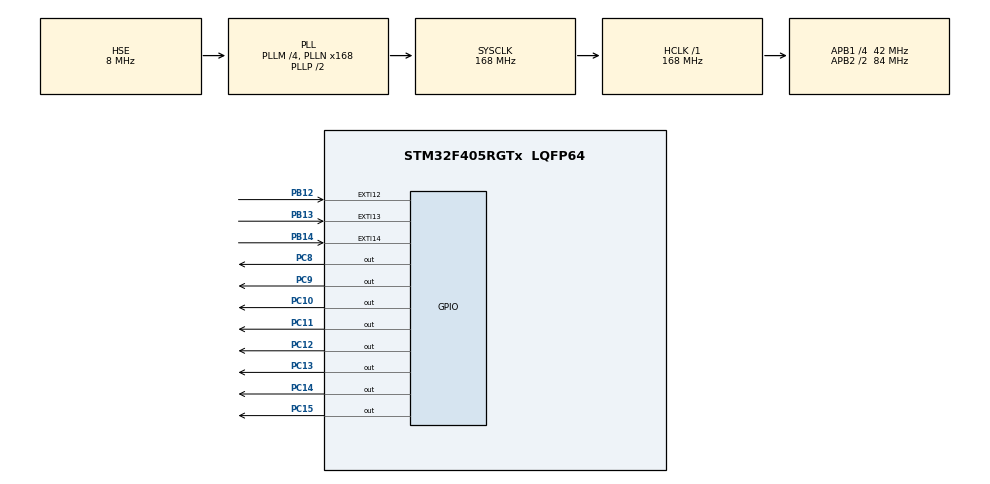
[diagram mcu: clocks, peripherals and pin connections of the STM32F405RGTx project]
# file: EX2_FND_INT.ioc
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Mcu.Family=STM32F4
Mcu.Name=STM32F405RGTx
Mcu.Package=LQFP64
NVIC.EXTI15_10_IRQn=true\:0\:0\:false\:false\:true\:true\:true
NVIC.PriorityGroup=NVIC_PRIORITYGROUP_4
PA13.Mode=Serial_Wire
PA13.Signal=SYS_JTMS-SWDIO
PA14.Mode=Serial_Wire
PA14.Signal=SYS_JTCK-SWCLK
PB12.Signal=GPXTI12
PB13.Signal=GPXTI13
PB14.Signal=GPXTI14
PC10.Signal=GPIO_Output
PC11.Signal=GPIO_Output
PC12.Signal=GPIO_Output
PC13-ANTI_TAMP.Signal=GPIO_Output
PC14-OSC32_IN.Signal=GPIO_Output
PC15-OSC32_OUT.Signal=GPIO_Output
PC8.Signal=GPIO_Output
PC9.Signal=GPIO_Output
PH0-OSC_IN.Mode=HSE-External-Oscillator
PH0-OSC_IN.Signal=RCC_OSC_IN
PH1-OSC_OUT.Mode=HSE-External-Oscillator
PH1-OSC_OUT.Signal=RCC_OSC_OUT
ProjectManager.HeapSize=0x200
ProjectManager.StackSize=0x400
ProjectManager.TargetToolchain=EWARM V8.32
RCC.48MHZClocksFreq_Value=84000000
RCC.AHBFreq_Value=168000000
RCC.APB1CLKDivider=RCC_HCLK_DIV4
RCC.APB1Freq_Value=42000000
RCC.APB1TimFreq_Value=84000000
RCC.APB2CLKDivider=RCC_HCLK_DIV2
RCC.APB2Freq_Value=84000000
RCC.APB2TimFreq_Value=168000000
RCC.CortexFreq_Value=168000000
RCC.HCLKFreq_Value=168000000
RCC.HSE_VALUE=8000000
RCC.HSI_VALUE=16000000
RCC.LSE_VALUE=32768
RCC.PLLM=4
RCC.PLLN=168
RCC.PLLSourceVirtual=RCC_PLLSOURCE_HSE
RCC.SYSCLKFreq_VALUE=168000000
RCC.SYSCLKSource=RCC_SYSCLKSOURCE_PLLCLK
RCC.VCOOutputFreq_Value=336000000
board=custom

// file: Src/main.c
/* USER CODE BEGIN Header */
/**
  ******************************************************************************
  * @file           : main.c
  * @brief          : Main program body
  ******************************************************************************
  * @attention
  *
  * <h2><center>&copy; Copyright (c) 2020 STMicroelectronics.
  * All rights reserved.</center></h2>
  *
  * This software component is licensed by ST under BSD 3-Clause license,
  * the "License"; You may not use this file except in compliance with the
  * License. You may obtain a copy of the License at:
  *                        opensource.org/licenses/BSD-3-Clause
  *
  ******************************************************************************
  */
/* USER CODE END Header */

#include "main.h"
#include "gpio.h"

void SystemClock_Config(void);

/* USER CODE BEGIN 0 */
unsigned char Time_STOP = 0;
/* USER CODE END 0 */

int main(void)
{

  /* MCU Configuration--------------------------------------------------------*/

  /* Reset of all peripherals, Initializes the Flash interface and the Systick. */
  HAL_Init();

  /* Configure the system clock */
  SystemClock_Config();

  /* Initialize all configured peripherals */
  MX_GPIO_Init();

  /* Infinite loop */
  /* USER CODE BEGIN WHILE */
  unsigned int FND_DATA_TBL [] = {0x3f00, 0x0600, 0x5b00, 0x4f00, 0x6600, 0x6d00,
                                  0x7c00, 0x0700, 0x7f00, 0x6700, 0x7700, 0x7c00,
                                  0x3900, 0x5e00, 0x7900, 0x7100, 0x0800, 0x8000};
  unsigned char cnt = 0;
  while (1)
  {
    HAL_GPIO_WritePin(GPIOC, 0xff00, GPIO_PIN_RESET);
    HAL_GPIO_WritePin(GPIOC, FND_DATA_TBL[cnt], GPIO_PIN_SET);
    if(Time_STOP == 0){
      cnt++;
      if(cnt>17) cnt = 0;
    }
    HAL_Delay(200);

    /* USER CODE END WHILE */

  }
}

void SystemClock_Config(void)
{
  RCC_OscInitTypeDef RCC_OscInitStruct = {0};
  RCC_ClkInitTypeDef RCC_ClkInitStruct = {0};

  /** Configure the main internal regulator output voltage
  */
  __HAL_RCC_PWR_CLK_ENABLE();
  __HAL_PWR_VOLTAGESCALING_CONFIG(PWR_REGULATOR_VOLTAGE_SCALE1);
  /** Initializes the CPU, AHB and APB busses clocks
  */
  RCC_OscInitStruct.OscillatorType = RCC_OSCILLATORTYPE_HSE;
  RCC_OscInitStruct.HSEState = RCC_HSE_ON;
  RCC_OscInitStruct.PLL.PLLState = RCC_PLL_ON;
  RCC_OscInitStruct.PLL.PLLSource = RCC_PLLSOURCE_HSE;
  RCC_OscInitStruct.PLL.PLLM = 4;
  RCC_OscInitStruct.PLL.PLLN = 168;
  RCC_OscInitStruct.PLL.PLLP = RCC_PLLP_DIV2;
  RCC_OscInitStruct.PLL.PLLQ = 4;
  if (HAL_RCC_OscConfig(&RCC_OscInitStruct) != HAL_OK)
  {
    Error_Handler();
  }
  /** Initializes the CPU, AHB and APB busses clocks
  */
  RCC_ClkInitStruct.ClockType = RCC_CLOCKTYPE_HCLK|RCC_CLOCKTYPE_SYSCLK
                              |RCC_CLOCKTYPE_PCLK1|RCC_CLOCKTYPE_PCLK2;
  RCC_ClkInitStruct.SYSCLKSource = RCC_SYSCLKSOURCE_PLLCLK;
  RCC_ClkInitStruct.AHBCLKDivider = RCC_SYSCLK_DIV1;
  RCC_ClkInitStruct.APB1CLKDivider = RCC_HCLK_DIV4;
  RCC_ClkInitStruct.APB2CLKDivider = RCC_HCLK_DIV2;

  if (HAL_RCC_ClockConfig(&RCC_ClkInitStruct, FLASH_LATENCY_5) != HAL_OK)
  {
    Error_Handler();
  }
}

/* USER CODE BEGIN 4 */
void HAL_GPIO_EXTI_Callback(uint16_t GPIO_Pin)
{
  if(GPIO_Pin == GPIO_PIN_12){
    Time_STOP = 0;
  }
//  else if(GPIO_Pin == GPIO_PIN_13){
//    Time_STOP = 1;
//  }
  else if(GPIO_Pin == GPIO_PIN_14){
    Time_STOP = 1;
  }
}
/* USER CODE END 4 */

void Error_Handler(void)
{
}

/************************ (C) COPYRIGHT STMicroelectronics *****END OF FILE****/
